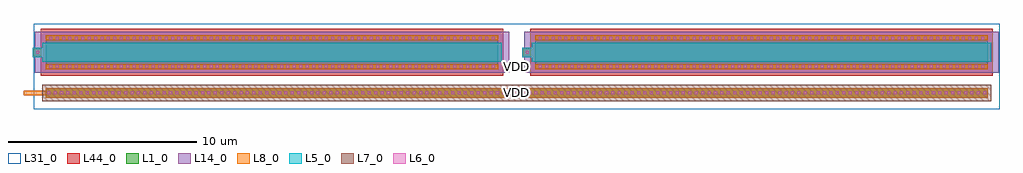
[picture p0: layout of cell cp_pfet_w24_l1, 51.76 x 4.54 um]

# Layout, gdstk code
import gdstk
lib = gdstk.Library(unit=1e-6, precision=1e-09)
def R(c, l, rs):  # rectangles x0, y0, x1, y1
    for r in rs: c.add(gdstk.rectangle(r[:2], r[2:], *l))
def A(c, l, x, y, w, h, nx, ny, dx, dy):  # array of equal rectangles
    R(c, l, [(x+i*dx, y+j*dy, x+i*dx+w, y+j*dy+h) for i in range(nx) for j in range(ny)])
L1_0 = (1, 0)
L5_0 = (5, 0)
L6_0 = (6, 0)
L7_0 = (7, 0)
L8_0 = (8, 0)
L14_0 = (14, 0)
L31_0 = (31, 0)
L44_0 = (44, 0)

cp_pfet_w24_l1 = lib.new_cell('cp_pfet_w24_l1')
R(cp_pfet_w24_l1, L1_0, [(1.3,0.96,51.26,1.46), (1.3,2.46,25.3,4.26), (27.26,2.46,51.26,4.26)])
R(cp_pfet_w24_l1, L5_0, [(1.12,2.86,25.48,3.86), (27.08,2.86,51.44,3.86), (0.62,3.11,1.12,3.61), (26.58,3.11,27.08,3.61)])
A(cp_pfet_w24_l1, L6_0, 1.38, 1.13, 0.16, 0.16, 147, 1, 0.34, 0)
A(cp_pfet_w24_l1, L6_0, 1.49, 2.53, 0.16, 0.16, 70, 2, 0.34, 1.5)
A(cp_pfet_w24_l1, L6_0, 27.45, 2.53, 0.16, 0.16, 70, 2, 0.34, 1.5)
R(cp_pfet_w24_l1, L6_0, [(0.79,3.28,0.95,3.44), (26.75,3.28,26.91,3.44)])
R(cp_pfet_w24_l1, L7_0, [(1.12,0.78,51.44,1.64)])
R(cp_pfet_w24_l1, L8_0, [(1.3,0.96,51.26,1.46), (0.125,1.085,1.3,1.335), (1.3,2.46,25.3,2.72), (27.26,2.46,51.26,2.72), (0.67,3.16,1.07,3.56), (26.63,3.16,27.03,3.56), (1.3,4,25.3,4.26), (27.26,4,51.26,4.26)])
R(cp_pfet_w24_l1, L14_0, [(0.72,2.28,25.88,4.44), (26.68,2.28,51.84,4.44)])
R(cp_pfet_w24_l1, L31_0, [(0.68,0.34,51.88,4.88)])
R(cp_pfet_w24_l1, L44_0, [(1.03,2.12,25.57,4.6), (26.99,2.12,51.53,4.6)])
cp_pfet_w24_l1.add(gdstk.Label('VDD', (26.28,1.21), layer=8, texttype=2))
cp_pfet_w24_l1.add(gdstk.Label('VDD', (26.28,2.61), layer=31, texttype=2))

lib.write_gds('cp_pfet_w24_l1.gds')
